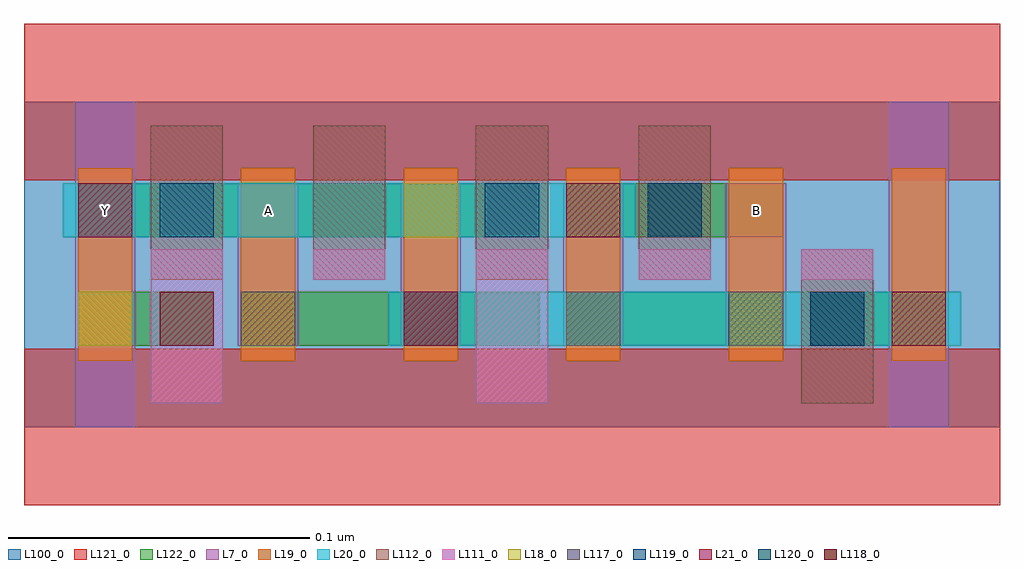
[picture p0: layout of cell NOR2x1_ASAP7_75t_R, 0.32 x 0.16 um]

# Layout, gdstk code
import gdstk
lib = gdstk.Library(unit=1e-6, precision=2.5e-10)
def R(c, l, rs):  # rectangles x0, y0, x1, y1
    for r in rs: c.add(gdstk.rectangle(r[:2], r[2:], *l))
def A(c, l, x, y, w, h, nx, ny, dx, dy):  # array of equal rectangles
    R(c, l, [(x+i*dx, y+j*dy, x+i*dx+w, y+j*dy+h) for i in range(nx) for j in range(ny)])
L7_0 = (7, 0)
L18_0 = (18, 0)
L19_0 = (19, 0)
L20_0 = (20, 0)
L21_0 = (21, 0)
L100_0 = (100, 0)
L111_0 = (111, 0)
L112_0 = (112, 0)
L117_0 = (117, 0)
L118_0 = (118, 0)
L119_0 = (119, 0)
L120_0 = (120, 0)
L121_0 = (121, 0)
L122_0 = (122, 0)

nor2x1_asap7_75t_r = lib.new_cell('NOR2x1_ASAP7_75t_R')
A(nor2x1_asap7_75t_r, L7_0, 0.071, 0.027, 0.02, 0.054, 4, 1, 0.054, 0)
R(nor2x1_asap7_75t_r, L7_0, [(0.017,0,0.037,0.108), (0.287,0,0.307,0.108)])
R(nor2x1_asap7_75t_r, L18_0, [(0.018,0.027,0.036,0.045), (0.072,0.027,0.09,0.045), (0.234,0.027,0.252,0.045), (0.288,0.027,0.306,0.045), (0.126,0.063,0.144,0.081), (0.18,0.063,0.198,0.081)])
A(nor2x1_asap7_75t_r, L19_0, 0.018, 0.022, 0.018, 0.064, 6, 1, 0.054, 0)
R(nor2x1_asap7_75t_r, L20_0, [(0.121,0.027,0.311,0.045), (0.013,0.063,0.203,0.081)])
R(nor2x1_asap7_75t_r, L21_0, [(0.126,0.027,0.144,0.045), (0.288,0.027,0.306,0.045), (0.018,0.063,0.036,0.081), (0.18,0.063,0.198,0.081)])
R(nor2x1_asap7_75t_r, L100_0, [(0,0,0.324,0.108)])
R(nor2x1_asap7_75t_r, L111_0, [(0.042,0.008,0.066,0.059), (0.15,0.008,0.174,0.059), (0.096,0.049,0.12,0.059), (0.204,0.049,0.228,0.059), (0.258,0.049,0.282,0.059)])
A(nor2x1_asap7_75t_r, L112_0, 0.042, 0.049, 0.024, 0.051, 4, 1, 0.054, 0)
R(nor2x1_asap7_75t_r, L112_0, [(0.258,0.008,0.282,0.059)])
A(nor2x1_asap7_75t_r, L117_0, 0.072, 0.027, 0.018, 0.018, 4, 1, 0.054, 0)
R(nor2x1_asap7_75t_r, L118_0, [(0.045,0.027,0.063,0.045)])
R(nor2x1_asap7_75t_r, L119_0, [(0.261,0.027,0.279,0.045), (0.045,0.063,0.063,0.081), (0.153,0.063,0.171,0.081), (0.207,0.063,0.225,0.081)])
R(nor2x1_asap7_75t_r, L120_0, [(0.261,0.027,0.279,0.045), (0.207,0.063,0.225,0.081)])
R(nor2x1_asap7_75t_r, L121_0, [(0,-0.026,0.324,0.026), (0,0.082,0.324,0.134)])
R(nor2x1_asap7_75t_r, L122_0, [(0.018,0.027,0.063,0.045), (0.072,0.027,0.171,0.045), (0.18,0.027,0.252,0.045), (0.261,0.027,0.306,0.045), (0.018,0.063,0.171,0.081), (0.18,0.063,0.252,0.081)])
nor2x1_asap7_75t_r.add(gdstk.Label('Y', (0.027,0.072), layer=19, texttype=251))
nor2x1_asap7_75t_r.add(gdstk.Label('B', (0.243,0.072), layer=19, texttype=251))
nor2x1_asap7_75t_r.add(gdstk.Label('A', (0.081,0.072), layer=19, texttype=251))

lib.write_gds('NOR2x1_ASAP7_75t_R.gds')
